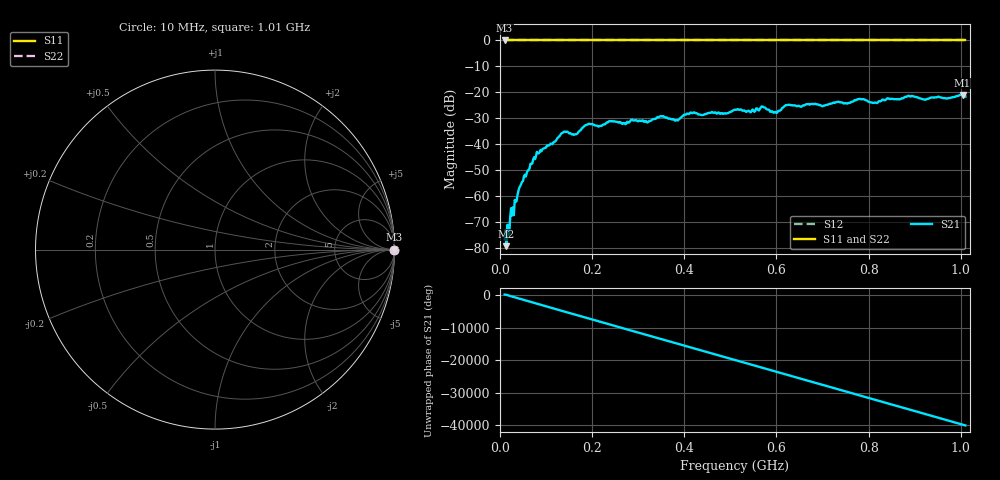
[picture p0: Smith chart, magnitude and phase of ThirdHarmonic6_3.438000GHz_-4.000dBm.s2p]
! 8/17/2025 11:04:24 AM
! C:\ANRITSUVNA\TEMP\TEMP.S2P
! CHANNEL.1
! TR.MEASUREMENT
! RAW.DATA
! RF.CORRECTION.OFF
! AVERAGING.OFF
! IF.BANDWIDTH: 5KHZ
! SWEEPTYPE:  FREQ.SWEEP(Linear)
! Reference Plane Port Info
! PORT:  PORT1  PORT2
! DISTANCE:  0  m  0  m
! TIME:  0  s  0  s
! PHASE.OFFSET:  0  deg.  0  deg.
! LOSS:  0  dB  0  dB
! REF.LOSS:  0  dB  0  dB
! REF.FREQ:  0  Hz  0  Hz
! Power Info
! POWER:  -20  dBm  -20  dBm
! EFF.POWER:  -20  dBm  -20  dBm
! SOURCE.ATTEN:  0  dB  0  dB
! TEST.ATTEN:  0  dB  0  dB
# GHZ S RI R 50.0
! FREQ.GHZ  S11RE  S11IM  S21RE  S21IM  S12RE  S12IM  S22RE  S22IM
!; PortSelection: Port_12
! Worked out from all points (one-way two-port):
!   501 points, 10 MHz to 1.01 GHz, reference 50 ohm
!   highest |S21| = -20.93 dB at 1.004 GHz (marker M1); lowest = -79.1 dB at 14 MHz (marker M2)
!   lowest |S11| = 0.0 dB at 10 MHz (marker M3)
!   |S11| at or under -10 dB: nowhere
!   |S22| runs from 0.0 to 0.0 dB; largest |S21 - S12| = 1.1
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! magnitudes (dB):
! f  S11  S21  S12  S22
! 10 MHz  0.0  -76.5  0.0  0.0
! 14 MHz  0.0  -79.1  0.0  0.0
! 18 MHz  0.0  -72.4  0.0  0.0
! 28 MHz  0.0  -64.2  0.0  0.0
! 44 MHz  0.0  -56.0  0.0  0.0
! 76 MHz  0.0  -45.7  0.0  0.0
! 136 MHz  0.0  -35.5  0.0  0.0
! 164 MHz  0.0  -36.1  0.0  0.0
! 178 MHz  0.0  -33.7  0.0  0.0
! 192 MHz  0.0  -32.1  0.0  0.0
! 322 MHz  0.0  -31.3  0.0  0.0
! 344 MHz  0.0  -29.7  0.0  0.0
! 384 MHz  0.0  -30.7  0.0  0.0
! 418 MHz  0.0  -28.0  0.0  0.0
! 510 MHz  0.0  -26.6  0.0  0.0
! 570 MHz  0.0  -25.4  0.0  0.0
! 598 MHz  0.0  -27.5  0.0  0.0
! 624 MHz  0.0  -24.8  0.0  0.0
! 678 MHz  0.0  -24.4  0.0  0.0
! 844 MHz  0.0  -22.4  0.0  0.0
! 1.004 GHz  0.0  -20.9  0.0  0.0
! 1.01 GHz  0.0  -21.6  0.0  0.0
